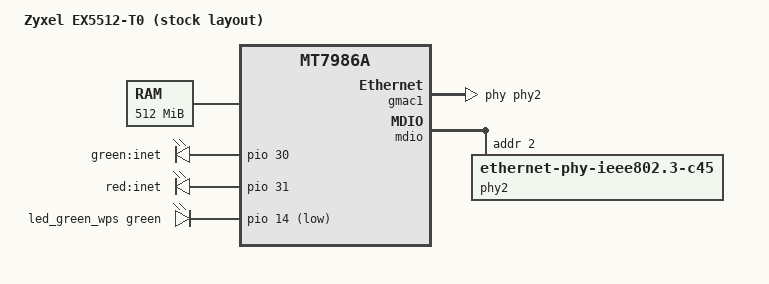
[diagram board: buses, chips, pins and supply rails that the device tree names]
// SPDX-License-Identifier: (GPL-2.0 OR MIT)
/*
 * Copyright (C) 2021 MediaTek Inc.
 * Author: Sam.Shih <sam.shih@mediatek.com>
 */

/dts-v1/;
#include "mt7986a-zyxel-ex5601-t0-common.dtsi"

/ {
	model = "Zyxel EX5512-T0 (stock layout)";
	compatible = "zyxel,ex5512-t0-stock", "mediatek,mt7986a";

	memory@40000000 {
		reg = <0 0x40000000 0 0x20000000>;
		device_type = "memory";
	};

	leds {
		led_green_inet: led_green_inet {
			label = "green:inet";
			gpios = <&pio 30 GPIO_ACTIVE_HIGH>;
			default-state = "off";
		};

		led_red_inet: led_red_inet {
			label = "red:inet";
			gpios = <&pio 31 GPIO_ACTIVE_HIGH>;
			default-state = "off";
		};

		led_green_wps: led_green_wps {
			color = <LED_COLOR_ID_GREEN>;
			function = LED_FUNCTION_WPS;
			gpios = <&pio 14 GPIO_ACTIVE_LOW>;
			default-state = "off";
		};
	};
};

&spi_nand {
	mediatek,nmbm;
	mediatek,bmt-max-ratio = <1>;
	mediatek,bmt-max-reserved-blocks = <64>;
};

&nand_partitions {
	partition@0 {
		label = "BL2";
		reg = <0x00000 0x0100000>;
		read-only;
	};

	partition@100000 {
		label = "u-boot-env";
		reg = <0x0100000 0x0080000>;
	};

	factory: partition@180000 {
		label = "Factory";
		reg = <0x180000 0x0200000>;
		read-only;

		nvmem-layout {
			compatible = "fixed-layout";
			#address-cells = <1>;
			#size-cells = <1>;

			eeprom_factory: eeprom@0 {
				#size-cells = <1>;
				reg = <0x0 0x1000>;
			};

			macaddr_factory_4: macaddr@4 {
				compatible = "mac-base";
				reg = <0x4 0x6>;
				#nvmem-cell-cells = <1>;
			};

			macaddr_factory_24: macaddr@24 {
				compatible = "mac-base";
				reg = <0x24 0x6>;
				#nvmem-cell-cells = <1>;
			};

			macaddr_factory_2a: macaddr@2a {
				compatible = "mac-base";
				reg = <0x2a 0x6>;
				#nvmem-cell-cells = <1>;
			};
		};
	};

	partition@380000 {
		label = "FIP";
		reg = <0x380000 0x01C0000>;
		read-only;
	};

	partition@540000 {
		label = "zloader";
		reg = <0x540000 0x0040000>;
		read-only;
	};

	partition@580000 {
		label = "ubi";
		reg = <0x580000 0x4000000>;
	};

	partition@4580000 {
		label = "ubi2";
		reg = <0x4580000 0x4000000>;
		read-only;
	};

	partition@8580000 {
		label = "zyubi";
		reg = <0x8580000 0x15A80000>;
	};
};

&gmac1 {
	phy = <&phy2>;
};

&mdio {
	/delete-node/ phy@6;

	phy2: phy@2 {
		compatible = "ethernet-phy-ieee802.3-c45";
		reg = <2>;

		leds {
			#address-cells = <1>;
			#size-cells = <0>;

			led@0 {
				reg = <0>;
				color = <LED_COLOR_ID_GREEN>;
				function = LED_FUNCTION_WAN;
			};
		};
	};
};

&spi1 {
	status = "disabled";
};
